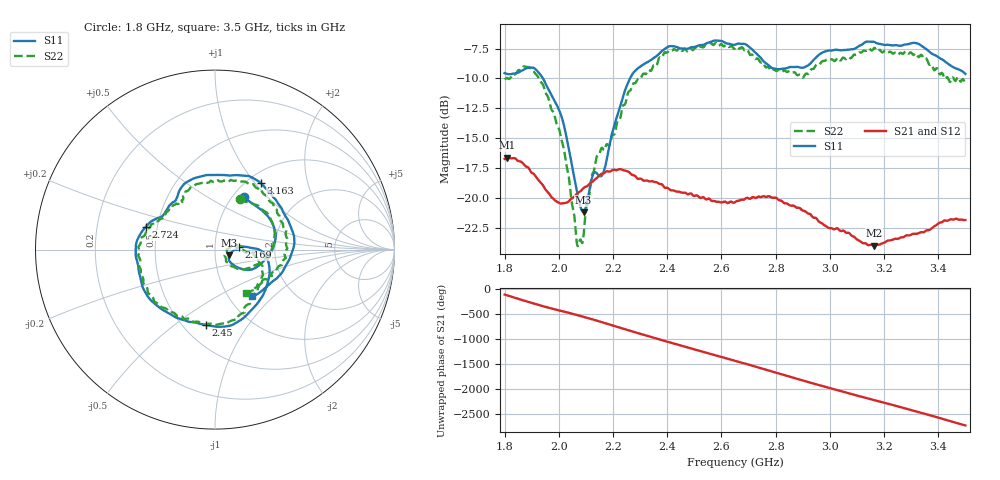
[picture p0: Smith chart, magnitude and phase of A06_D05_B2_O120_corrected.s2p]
! Created with skrf 1.9.0 (http://scikit-rf.org).
# Hz S RI R 50.0
!freq ReS11 ImS11 ReS21 ImS21 ReS12 ImS12 ReS22 ImS22
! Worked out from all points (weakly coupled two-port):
!   1601 points, 1.8 GHz to 3.5 GHz, reference 50 ohm
!   highest |S21| = -16.65 dB at 1.811 GHz (marker M1); lowest = -24.0 dB at 3.163 GHz (marker M2)
!   lowest |S11| = -21.2 dB at 2.091 GHz (marker M3), VSWR 1.19, Z = 58.6 - j3.82 ohm
!   |S11| at or under -10 dB: 1.942 GHz to 2.263 GHz (320.8 MHz wide, 15.3 % of centre)
!   |S22| runs from -24.1 to -7.0 dB; largest |S21 - S12| = 0.0027
!   S11 on the Smith chart (normalised r, x): 1.8 GHz: 1.13, +0.74; 2.169 GHz: 1.30, +0.03; 2.45 GHz: 0.64, -0.66; 2.724 GHz: 0.43, +0.13; 3.163 GHz: 1.16, +1.07; 3.5 GHz: 1.28, -0.74
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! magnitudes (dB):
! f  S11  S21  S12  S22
! 1.8 GHz  -9.5  -16.7  -16.7  -10.1
! 1.811 GHz  -9.6  -16.6  -16.7  -10.0
! 1.881 GHz  -9.1  -17.4  -17.4  -9.0
! 1.942 GHz  -10.0  -19.0  -19.0  -10.6
! 2.013 GHz  -13.4  -20.5  -20.5  -15.4
! 2.067 GHz  -19.5  -19.7  -19.7  -23.8
! 2.084 GHz  -21.0  -19.4  -19.3  -23.7
! 2.091 GHz  -21.2  -19.2  -19.2  -23.2
! 2.129 GHz  -17.9  -18.6  -18.5  -17.7
! 2.169 GHz  -17.6  -17.9  -17.9  -16.0
! 2.204 GHz  -14.0  -17.7  -17.7  -14.7
! 2.26 GHz  -10.1  -17.9  -17.9  -11.1
! 2.367 GHz  -8.0  -18.8  -18.7  -8.4
! 2.45 GHz  -7.5  -19.6  -19.5  -7.6
! 2.65 GHz  -7.2  -20.4  -20.4  -7.5
! 2.724 GHz  -7.8  -20.0  -20.0  -8.3
! 2.799 GHz  -9.2  -20.0  -20.0  -9.3
! 2.934 GHz  -8.6  -21.5  -21.5  -9.2
! 3.163 GHz  -6.9  -24.0  -24.0  -7.4
! 3.217 GHz  -7.2  -23.6  -23.6  -7.8
! 3.325 GHz  -7.1  -23.0  -23.0  -8.2
! 3.5 GHz  -9.6  -21.9  -21.9  -10.5
